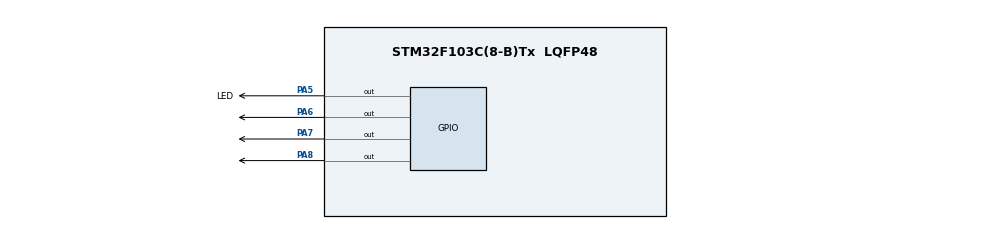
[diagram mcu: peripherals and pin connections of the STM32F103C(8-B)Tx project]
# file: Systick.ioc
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Mcu.Family=STM32F1
Mcu.Name=STM32F103C(8-B)Tx
Mcu.Package=LQFP48
NVIC.PriorityGroup=NVIC_PRIORITYGROUP_4
PA13.Mode=Serial_Wire
PA13.Signal=SYS_JTMS-SWDIO
PA14.Mode=Serial_Wire
PA14.Signal=SYS_JTCK-SWCLK
PA5.GPIO_Label=LED
PA5.Signal=GPIO_Output
PA6.Signal=GPIO_Output
PA7.Signal=GPIO_Output
PA8.Signal=GPIO_Output
ProjectManager.HeapSize=0x200
ProjectManager.StackSize=0x400
ProjectManager.TargetToolchain=MDK-ARM V5
RCC.APB1Freq_Value=8000000
RCC.APB2Freq_Value=8000000
VP_TIM1_VS_ClockSourceINT.Mode=Internal
board=custom

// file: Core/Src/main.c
/* USER CODE BEGIN Header */
/**
  ******************************************************************************
  * @file           : main.c
  * @brief          : Main program body
  ******************************************************************************
  * @attention
  *
  * Copyright (c) 2025 STMicroelectronics.
  * All rights reserved.
  *
  * This software is licensed under terms that can be found in the LICENSE file
  * in the root directory of this software component.
  * If no LICENSE file comes with this software, it is provided AS-IS.
  *
  ******************************************************************************
  */
/* USER CODE END Header */
#include "main.h"

/* USER CODE BEGIN Includes */
uint32_t tick_count = 0;
uint32_t led_period = 500;
uint32_t lastTick = 0;

/* USER CODE END Includes */

/* USER CODE BEGIN PTD */
void SystemClock_Config(void);
static void MX_GPIO_Init(void);

void HAL_SYSTICK_Callback(void)
{
  tick_count++;

  if (tick_count >= led_period)
  {
    HAL_GPIO_TogglePin(GPIOA, GPIO_PIN_5);
    tick_count = 0;
  }
}

void Callback_Delay(void)
{
		HAL_GPIO_TogglePin(GPIOA, GPIO_PIN_5);
		HAL_Delay(500);
}

void USE_Gettick(void)
{

	if (HAL_GetTick() - lastTick >= 1000)
	{
		lastTick = HAL_GetTick();
		HAL_GPIO_TogglePin(GPIOA, GPIO_PIN_6);
  }

}

void SysTick_Handler(void);

/* USER CODE END PTD */

TIM_HandleTypeDef htim1;

void SystemClock_Config(void);
static void MX_GPIO_Init(void);
static void MX_TIM1_Init(void);

int main(void)
{

  /* MCU Configuration--------------------------------------------------------*/

  /* Reset of all peripherals, Initializes the Flash interface and the Systick. */
  HAL_Init();

  /* Configure the system clock */
  SystemClock_Config();

  /* Initialize all configured peripherals */
  MX_GPIO_Init();
  MX_TIM1_Init();

  /* Infinite loop */
  /* USER CODE BEGIN WHILE */
  while (1)
  {
		//HAL_SYSTICK_Callback();
		//USE_Gettick();
		//HAL_InitTick();
		//SysTick_Handler();
    /* USER CODE END WHILE */

  }
}

void SystemClock_Config(void)
{
  RCC_OscInitTypeDef RCC_OscInitStruct = {0};
  RCC_ClkInitTypeDef RCC_ClkInitStruct = {0};

  /** Initializes the RCC Oscillators according to the specified parameters
  * in the RCC_OscInitTypeDef structure.
  */
  RCC_OscInitStruct.OscillatorType = RCC_OSCILLATORTYPE_HSI;
  RCC_OscInitStruct.HSIState = RCC_HSI_ON;
  RCC_OscInitStruct.HSICalibrationValue = RCC_HSICALIBRATION_DEFAULT;
  RCC_OscInitStruct.PLL.PLLState = RCC_PLL_NONE;
  if (HAL_RCC_OscConfig(&RCC_OscInitStruct) != HAL_OK)
  {
    Error_Handler();
  }

  /** Initializes the CPU, AHB and APB buses clocks
  */
  RCC_ClkInitStruct.ClockType = RCC_CLOCKTYPE_HCLK|RCC_CLOCKTYPE_SYSCLK
                              |RCC_CLOCKTYPE_PCLK1|RCC_CLOCKTYPE_PCLK2;
  RCC_ClkInitStruct.SYSCLKSource = RCC_SYSCLKSOURCE_HSI;
  RCC_ClkInitStruct.AHBCLKDivider = RCC_SYSCLK_DIV1;
  RCC_ClkInitStruct.APB1CLKDivider = RCC_HCLK_DIV1;
  RCC_ClkInitStruct.APB2CLKDivider = RCC_HCLK_DIV1;

  if (HAL_RCC_ClockConfig(&RCC_ClkInitStruct, FLASH_LATENCY_0) != HAL_OK)
  {
    Error_Handler();
  }
}

static void MX_TIM1_Init(void)
{

  TIM_ClockConfigTypeDef sClockSourceConfig = {0};
  TIM_MasterConfigTypeDef sMasterConfig = {0};

  htim1.Instance = TIM1;
  htim1.Init.Prescaler = 0;
  htim1.Init.CounterMode = TIM_COUNTERMODE_UP;
  htim1.Init.Period = 65535;
  htim1.Init.ClockDivision = TIM_CLOCKDIVISION_DIV1;
  htim1.Init.RepetitionCounter = 0;
  htim1.Init.AutoReloadPreload = TIM_AUTORELOAD_PRELOAD_DISABLE;
  if (HAL_TIM_Base_Init(&htim1) != HAL_OK)
  {
    Error_Handler();
  }
  sClockSourceConfig.ClockSource = TIM_CLOCKSOURCE_INTERNAL;
  if (HAL_TIM_ConfigClockSource(&htim1, &sClockSourceConfig) != HAL_OK)
  {
    Error_Handler();
  }
  sMasterConfig.MasterOutputTrigger = TIM_TRGO_RESET;
  sMasterConfig.MasterSlaveMode = TIM_MASTERSLAVEMODE_DISABLE;
  if (HAL_TIMEx_MasterConfigSynchronization(&htim1, &sMasterConfig) != HAL_OK)
  {
    Error_Handler();
  }

}

static void MX_GPIO_Init(void)
{
  GPIO_InitTypeDef GPIO_InitStruct = {0};

  /* GPIO Ports Clock Enable */
  __HAL_RCC_GPIOA_CLK_ENABLE();

  /*Configure GPIO pin Output Level */
  HAL_GPIO_WritePin(GPIOA, LED_Pin|GPIO_PIN_6|GPIO_PIN_7|GPIO_PIN_8, GPIO_PIN_RESET);

  /*Configure GPIO pins : LED_Pin PA6 PA7 PA8 */
  GPIO_InitStruct.Pin = LED_Pin|GPIO_PIN_6|GPIO_PIN_7|GPIO_PIN_8;
  GPIO_InitStruct.Mode = GPIO_MODE_OUTPUT_PP;
  GPIO_InitStruct.Pull = GPIO_NOPULL;
  GPIO_InitStruct.Speed = GPIO_SPEED_FREQ_LOW;
  HAL_GPIO_Init(GPIOA, &GPIO_InitStruct);

}

void Error_Handler(void)
{
  __disable_irq();
  while (1)
  {
  }
}
